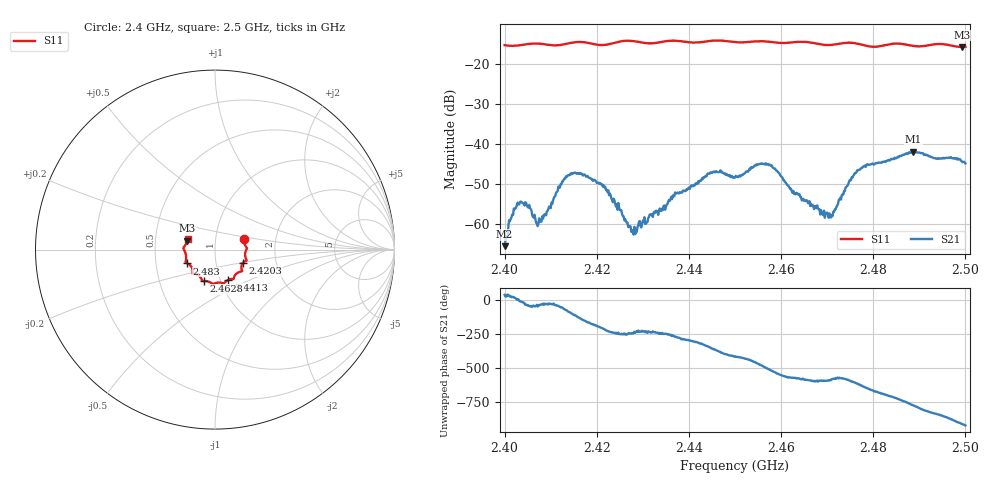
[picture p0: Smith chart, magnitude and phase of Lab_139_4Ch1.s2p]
# Hz S RI R 50
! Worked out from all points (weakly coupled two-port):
!   601 points, 2.4 GHz to 2.5 GHz, reference 50 ohm
!   highest |S21| = -42.02 dB at 2.4887 GHz (marker M1); lowest = -65.6 dB at 2.4 GHz (marker M2)
!   lowest |S11| = -15.8 dB at 2.4993 GHz (marker M3), VSWR 1.39, Z = 36.5 + j3.71 ohm
!   |S11| at or under -10 dB: start of sweep to end of sweep
!   S12 and S22 are empty: the file has one direction only
!   S11 on the Smith chart (normalised r, x): 2.4 GHz: 1.37, +0.16; 2.4203 GHz: 1.35, -0.21; 2.4413 GHz: 1.09, -0.38; 2.4628 GHz: 0.83, -0.30; 2.483 GHz: 0.72, -0.11; 2.5 GHz: 0.73, +0.09
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2.4e9  0.1606 0.0569  0.000431 0.000297  0 0  0 0
2.4015e9  0.1624 0.0404  0.00116 0.000354  0 0  0 0
2.403167e9  0.1678 0.0243  0.00172 -0.000287  0 0  0 0
2.4075e9  0.1779 0.006  0.000859 -0.000792  0 0  0 0
2.413e9  0.1699 -0.0425  0.00121 -0.00347  0 0  0 0
2.416667e9  0.1762 -0.0614  -0.00337 -0.0025  0 0  0 0
2.420333e9  0.1552 -0.074  -0.00309 0.00105  0 0  0 0
2.428e9  0.1478 -0.1216  -0.000337 0.000648  0 0  0 0
2.433333e9  0.1082 -0.1486  -0.000563 0.00116  0 0  0 0
2.441333e9  0.0743 -0.168  0.00204 0.00224  0 0  0 0
2.4455e9  0.051 -0.1877  0.00444 -0.000402  0 0  0 0
2.45e9  0.0293 -0.1839  0.00209 -0.00313  0 0  0 0
2.457167e9  -0.0176 -0.1878  -0.00479 -0.00287  0 0  0 0
2.462833e9  -0.063 -0.1746  -0.00194 0.00134  0 0  0 0
2.466667e9  -0.0741 -0.1675  -0.000885 0.00144  0 0  0 0
2.470833e9  -0.1002 -0.1393  -0.000821 0.000869  0 0  0 0
2.476333e9  -0.1249 -0.1287  -0.00117 0.0042  0 0  0 0
2.483e9  -0.1548 -0.0769  0.00581 0.00186  0 0  0 0
2.483333e9  -0.1568 -0.0759  0.00611 0.00142  0 0  0 0
2.488667e9  -0.1607 -0.045  0.00437 -0.00662  0 0  0 0
2.499333e9  -0.1542 0.0495  -0.00573 0.00146  0 0  0 0
2.5e9  -0.1525 0.0585  -0.00517 0.00233  0 0  0 0
